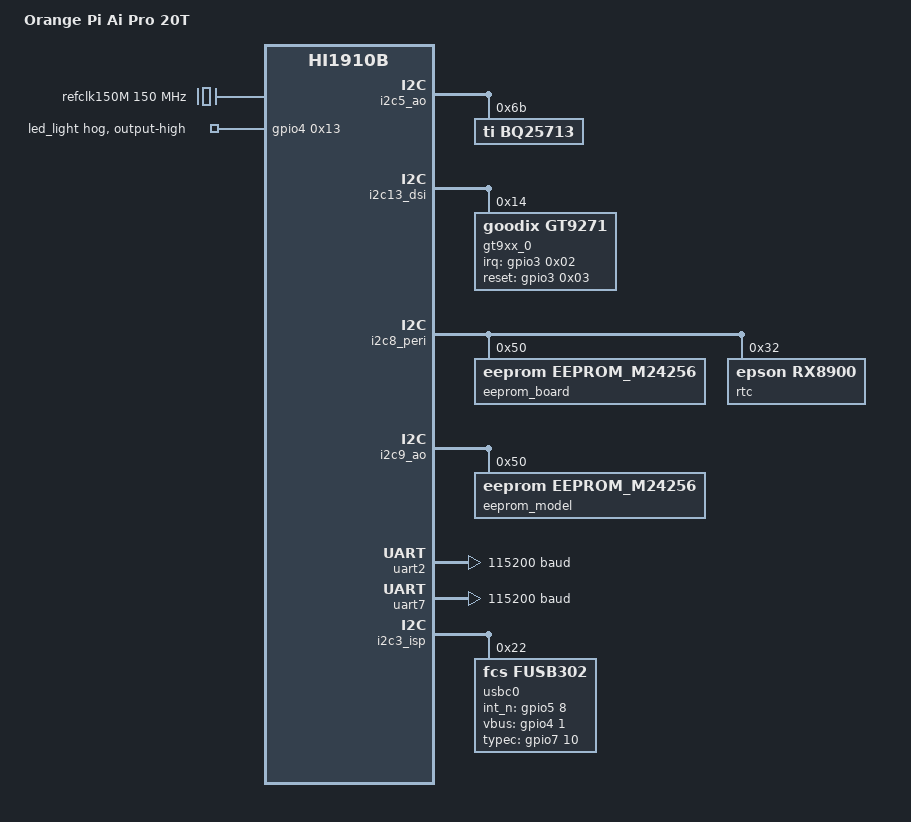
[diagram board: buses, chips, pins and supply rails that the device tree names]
/dts-v1/;

/ {
	compatible = "hisilicon,hi1910B-evb", "hisilicon,ascend610";
	hisi,boardid = <0x0 0x0 0x0 0x0>;
	#address-cells = <0x2>;
	#size-cells = <0x2>;
	interrupt-parent = <0x1>;
	model = "Orange Pi Ai Pro 20T";

	/include/ "base/hi1910B-asic-kernel-rc.dtsi"
	/include/ "base/hi1910B-commmon-smmu.dtsi"
	/include/ "base/hi1910B-mpam.dtsi"
	/include/ "base/hi1910B-lp-pm.dtsi"
	/include/ "base/hi1910B-lp-devmng.dtsi"
	/include/ "base/hi1910B-mbigen-ao.dtsi"
	/include/ "base/hi1910B-gpio.dtsi"
	// /include/ "base/hi1910B-bindcore.dtsi"
	// /include/ "base/hi1910B-can.dtsi"
	/include/ "base/hi1910B-emmc.dtsi"
	/include/ "base/hi1910B-ipcdrv.dtsi"
	/include/ "base/hi1910B-ts-drv.dtsi"
	/include/ "base/hi1910B-tsdrv.dtsi"
	// /include/ "base/hi1910B-network-M100-B51.dtsi"
	/include/ "base/hi1910B-hidvpp.dtsi"
	/include/ "base/hi1910B-hdmi.dtsi"
	/include/ "product/hi1910B-audio.dtsi"
	/include/ "base/hi1910B-mipitx.dtsi"

	/include/ "base/hi1910B-vdp.dtsi"
	/include/ "base/hi1910B-drm.dtsi"

	/include/ "base/hi1910B-isp.dtsi"
	/include/ "base/hi1910B-hilink.dtsi"
	/include/ "base/hi1910B-mntn-milanr3.dtsi"
	/include/ "base/hi1910B-gpu.dtsi"
	/include/ "base/hi1910B-ctl.dtsi"
	/include/ "base/hi1910B-itrustee.dtsi"

	// /include/ "base/hi1910B-sata.dtsi"
	// /include/ "product/hi1910B-pcie-sata-rc-M100-B51.dtsi"
	/include/ "product/hi1910B-pcie-rc-M100-B51.dtsi"

	/include/ "product/hi1910B-pinctrl-M100-B51.dtsi"
	/include/ "product/hi1910B-hiusbc-B51.dtsi"
	/include/ "product/hi1910B-i2c-M100-B51.dtsi"
	/include/ "product/hi1910B-spi-M100-B51.dtsi"
	/include/ "base/hi1910B-abl-qos.dtsi"

	poweroff {
		compatible = "hisi,power_off";
		reg = <0x0 0xc4060000 0x0 0x10000>;
		pinctrl-names = "default", "idle";
		pinctrl-0 = <&poweroff_pmx_func>;
		pinctrl-1 = <&poweroff_pmx_idle>;
	};

	chosen {
		bootargs = "console=ttyAMA0,115200 console=tty1 log_redirect=0x1fc000@0x22741000 root=/dev/mmcblk1p1 rw rdinit=/sbin/init rodata=off syslog earlycon=pl011,mmio32,0xC4010000 initrd=0x2BA00000,300M rootwait mpam=of enable_ascend_share_pool ascend_enable_all enable_sp_multi_group_mode init_all_gicr enable_fpga no_console_suspend use_kallsyms_lookup_symbol selinux=0 systemd.unified_cgroup_hierarchy=0 fbcon=map:6 movable_node cma=256M rootfstype=ext4 ";
	};
};

&i2c5_ao {
	bq25713: bq25713@6b {
		status = "okay";
		compatible = "ti,bq25713";
		reg = <0x6b>;

		ti,charge-current = <2000000>;
		ti,max-input-voltage = <21000000>;
		ti,max-input-current = <3000000>;
		ti,max-charge-voltage = <12600000>;
		ti,input-current = <500000>;
		ti,input-current-sdp = <500000>;
		ti,input-current-dcp = <2000000>;
		ti,input-current-cdp = <2000000>;
		ti,minimum-sys-voltage = <7400000>;
		ti,otg-voltage = <5000000>;
		ti,otg-current = <1500000>;
	};
};

&hdmi {
	TMDS_DRV_CFG_CH_2_0 = <0x40042805 0x00042805 0x00042805 0x40042905 0x00042905 0x00042905>;
	TMDS_DRV_CFG_CH_1_4 = <0x40021B02 0x00021B02 0x00021B02 0x40021B02 0x00021B02 0x00021B02>;
};

&i2c13_dsi {
	gt9xx_0: touchscreen@14 {
		compatible = "goodix,gt9271";
		reg = <0x14>;
		interrupt-parent = <&gpio3>;
		interrupts = <0x02 0x08>;
		irq-gpios = <&gpio3 0x02 0x08>;
		reset-gpios = <&gpio3 0x03 0x0>;
		touchscreen-inverted-x;
		//touchscreen-inverted-y;
		touchscreen-swapped-x-y;
		touchscreen-size-x = <1280>;
		touchscreen-size-y = <800>;
		status = "okay";
	};
};

&i2c7_peri {
	pinctrl-names = "default", "idle";
	pinctrl-0 = <&scl7_cfg_func &sda7_cfg_func>;
	pinctrl-1 = <&scl7_cfg_func &sda7_cfg_func>;
};

&i2c8_peri {
	pinctrl-names = "default", "idle";
	pinctrl-0 = <&scl8_cfg_func &sda8_cfg_func>;
	pinctrl-1 = <&scl8_cfg_func &sda8_cfg_func>;

	eeprom_board: eeprom@50 {
		compatible = "eeprom,eeprom_m24256";
		reg = <0x50>;
	};

	rtc: rtc_rx8900@32 {
		compatible = "epson,rx8900";
		reg = <0x32>;
	};
};

&i2c9_ao {
        eeprom_model:eeprom@50 {
                compatible = "eeprom,eeprom_m24256";
                reg = <0x50>;
        };
};

&{/soc} {
        refclk150M: refclk150M {
            compatible = "fixed-clock";
            #clock-cells = <0>;
            clock-frequency = <150000000>;
            clock-output-names = "refclk";
        };

	/*uart1: uart@82220000 {
		compatible = "arm,pl011", "arm,primecell";
		reg = < 0x00 0x82220000 0x00 0x1000 >;
		interrupts = < 0x00 0xaa 0x04 >;
		current-speed = < 0x1c200 >;
		arm,primecell-periphid = <0x00241011>;
		clocks = <&refclk150M>;
		clock-names = "apb_pclk";
		pinctrl-names = "default", "idle";
		pinctrl-0 = <&uart1_tx_pmx_func &uart1_rx_pmx_func>;
		pinctrl-1 = <&uart1_tx_pmx_idle &uart1_rx_pmx_idle>;
	};*/

	uart2: uart@82230000 {
		compatible = "arm,pl011", "arm,primecell";
		reg = < 0x00 0x82230000 0x00 0x1000 >;
		interrupts = < 0x00 0xab 0x04 >;
		current-speed = < 0x1c200 >;
		arm,primecell-periphid = <0x00241011>;
		clocks = <&refclk150M>;
		clock-names = "apb_pclk";
		pinctrl-names = "default", "idle";
		pinctrl-0 = <&uart2_tx_pmx_func &uart2_rx_pmx_func>;
		pinctrl-1 = <&uart2_tx_pmx_idle &uart2_rx_pmx_idle>;
	};

	uart7: uart@401080000 {
		compatible = "arm,pl011", "arm,primecell";
		reg = < 0x04 0x01080000 0x00 0x1000 >;  //配置为UART基地址
		interrupts = < 0x00 0x11b 0x04 >;         //配置UART中断号
		current-speed = < 0x1c200 >;
		arm,primecell-periphid = <0x00241011>;
		clocks = <&refclk150M>;                   //配置UART时钟频率
		clock-names = "apb_pclk";
		pinctrl-names = "default", "idle";
		pinctrl-0 = <&uart7_tx_pmx_func &uart7_rx_pmx_func>;   //工作状态
		pinctrl-1 = <&uart7_tx_pmx_idle &uart7_rx_pmx_idle>;   //休眠状态
	};
};

&gpio4 {
	led1_light {
		gpio-hog;
		gpios = <0x13 0x0>;
		output-high;
		line-name = "led_light";
	};
};

&i2c3_isp {
	usbc0: fusb302@22 {
		compatible = "fcs,fusb302";
		reg = <0x22>;
		fcs,int_n = <&gpio5 8 0>;
		vbus-gpios = <&gpio4 1 0>;
		typec-gpios = <&gpio7 10 0>;
		status = "okay";
	};
};
